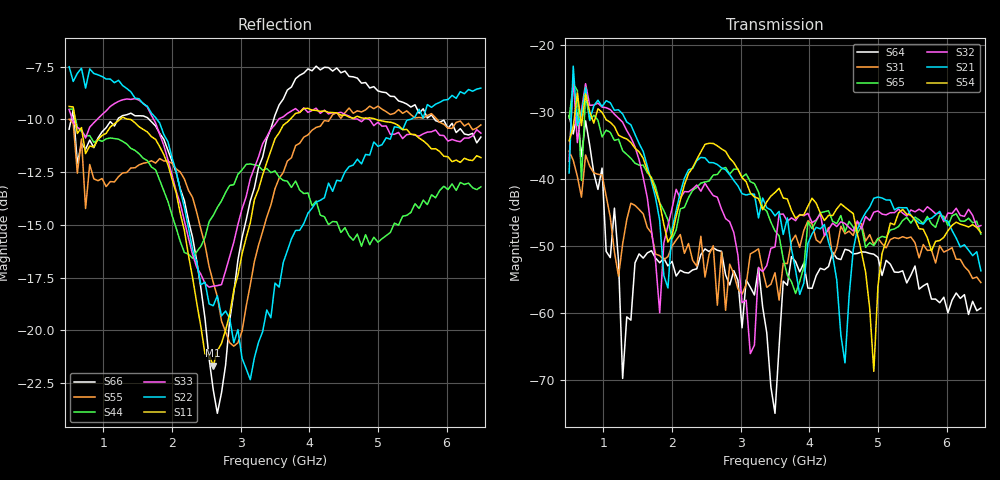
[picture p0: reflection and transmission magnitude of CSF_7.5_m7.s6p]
!Keysight Technologies,M9804A,MY58100912,A.14.10.03
!Date: Thursday, April 27, 2023 10:28:33
!Correction: S11(C  6-Port  )
!S12(C  6-Port  )
!S13(C  6-Port  )
!S14(C  6-Port  )
!S15(C  6-Port  )
!S16(C  6-Port  )
!S21(C  6-Port  )
!S22(C  6-Port  )
!S23(C  6-Port  )
!S24(C  6-Port  )
!S25(C  6-Port  )
!S26(C  6-Port  )
!S31(C  6-Port  )
!S32(C  6-Port  )
!S33(C  6-Port  )
!S34(C  6-Port  )
!S35(C  6-Port  )
!S36(C  6-Port  )
!S41(C  6-Port  )
!S42(C  6-Port  )
!S43(C  6-Port  )
!S44(C  6-Port  )
!S45(C  6-Port  )
!S46(C  6-Port  )
!S51(C  6-Port  )
!S52(C  6-Port  )
!S53(C  6-Port  )
!S54(C  6-Port  )
!S55(C  6-Port  )
!S56(C  6-Port  )
!S61(C  6-Port  )
!S62(C  6-Port  )
!S63(C  6-Port  )
!S64(C  6-Port  )
!S65(C  6-Port  )
!S66(C  6-Port  )
!S6P File: Measurement: :
# Hz S  RI  R 50
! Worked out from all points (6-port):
!   101 points, 500 MHz to 6.5 GHz, reference 50 ohm
!   strongest paths, dB at 500 MHz, 2 GHz, 3.5 GHz, 5 GHz, 6.5 GHz:
!     S54: -34.3, -48.4, -42.0, -56.0, -48.0
!     S21: -39.1, -47.5, -45.5, -42.7, -53.7
!     S32: -37.4, -44.4, -50.1, -44.8, -46.9
!     S65: -30.9, -49.0, -47.7, -48.9, -48.2
!     S31: -35.9, -50.0, -54.0, -48.8, -55.4
!     S64: -30.6, -52.3, -74.9, -51.7, -59.2
!   lowest |S11| = -21.7 dB at 2.6 GHz (marker M1), VSWR 1.18, Z = 42.6 + j2.02 ohm
!   |S11| at or under -10 dB: 587.9 MHz to 1.244 GHz (656 MHz wide, 71.6 % of centre); 1.369 GHz to 3.72 GHz (2.351 GHz wide, 92.4 % of centre); 4.967 GHz to end of sweep
